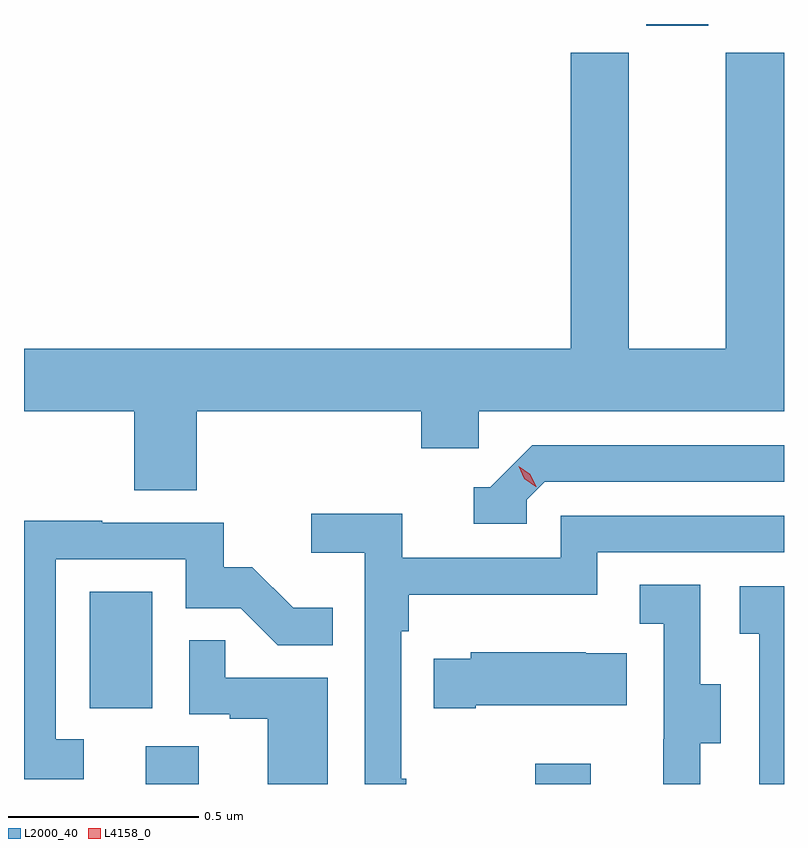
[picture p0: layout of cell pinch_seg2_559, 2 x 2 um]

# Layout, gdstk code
import gdstk
lib = gdstk.Library(unit=1e-6, precision=1e-09)
def R(c, l, rs):  # rectangles x0, y0, x1, y1
    for r in rs: c.add(gdstk.rectangle(r[:2], r[2:], *l))
def P(c, l, *ps):  # polygons
    for p in ps: c.add(gdstk.Polygon(p, *l))
L2000_40 = (2000, 40)
L4158_0 = (4158, 0)

pinch_seg2_559 = lib.new_cell('pinch_seg2_559')
R(pinch_seg2_559, L2000_40, [(1097.645,604.031,1097.785,604.13), (1098.67,604.031,1098.817,604.084), (1097.498,604.23,1097.662,604.537), (1098.962,606.027,1099.126,606.031)])
P(pinch_seg2_559, L2000_40, [(1097.78,605.012),(1098.371,605.012),(1098.371,604.914),(1098.522,604.914),(1098.522,605.012),(1099.325,605.012),(1099.325,605.955),(1099.172,605.955),(1099.172,605.176),(1098.916,605.176),(1098.916,605.955),(1098.764,605.955),(1098.764,605.176),(1097.325,605.176),(1097.325,605.012),(1097.615,605.012),(1097.615,604.804),(1097.78,604.804)],
  [(1098.648,604.779),(1098.696,604.827),(1099.325,604.827),(1099.325,604.923),(1098.663,604.923),(1098.552,604.812),(1098.509,604.812),(1098.509,604.716),(1098.648,604.716)],
  [(1098.331,604.045),(1098.318,604.045),(1098.318,604.433),(1098.338,604.433),(1098.338,604.529),(1098.834,604.529),(1098.834,604.641),(1099.325,604.641),(1099.325,604.737),(1098.738,604.737),(1098.738,604.626),(1098.32,604.626),(1098.32,604.742),(1098.081,604.742),(1098.081,604.64),(1098.222,604.64),(1098.222,604.031),(1098.331,604.031)],
  [(1097.482,604.149),(1097.409,604.149),(1097.409,604.623),(1097.751,604.623),(1097.751,604.494),(1097.895,604.494),(1097.993,604.396),(1098.137,604.396),(1098.137,604.495),(1098.033,604.495),(1097.926,604.602),(1097.85,604.602),(1097.85,604.719),(1097.531,604.719),(1097.531,604.724),(1097.325,604.724),(1097.325,604.044),(1097.482,604.044)],
  [(1099.105,604.138),(1099.159,604.138),(1099.159,604.293),(1099.104,604.293),(1099.104,604.556),(1098.945,604.556),(1098.945,604.453),(1099.008,604.453),(1099.008,604.149),(1099.007,604.149),(1099.007,604.031),(1099.105,604.031)],
  [(1099.325,604.551),(1099.209,604.551),(1099.209,604.427),(1099.26,604.427),(1099.26,604.031),(1099.325,604.031)],
  [(1098.124,604.311),(1097.855,604.311),(1097.855,604.409),(1097.76,604.409),(1097.76,604.215),(1097.867,604.215),(1097.867,604.203),(1097.966,604.203),(1097.966,604.031),(1098.124,604.031)],
  [(1098.514,604.238),(1098.911,604.238),(1098.911,604.375),(1098.803,604.375),(1098.803,604.378),(1098.501,604.378),(1098.501,604.36),(1098.403,604.36),(1098.403,604.231),(1098.514,604.231)])
P(pinch_seg2_559, L4158_0, [(1098.672,604.813),(1098.642,604.834),(1098.627,604.867),(1098.627,604.867),(1098.627,604.867),(1098.657,604.846),(1098.673,604.813),(1098.673,604.813)])

lib.write_gds('pinch_seg2_559.gds')
